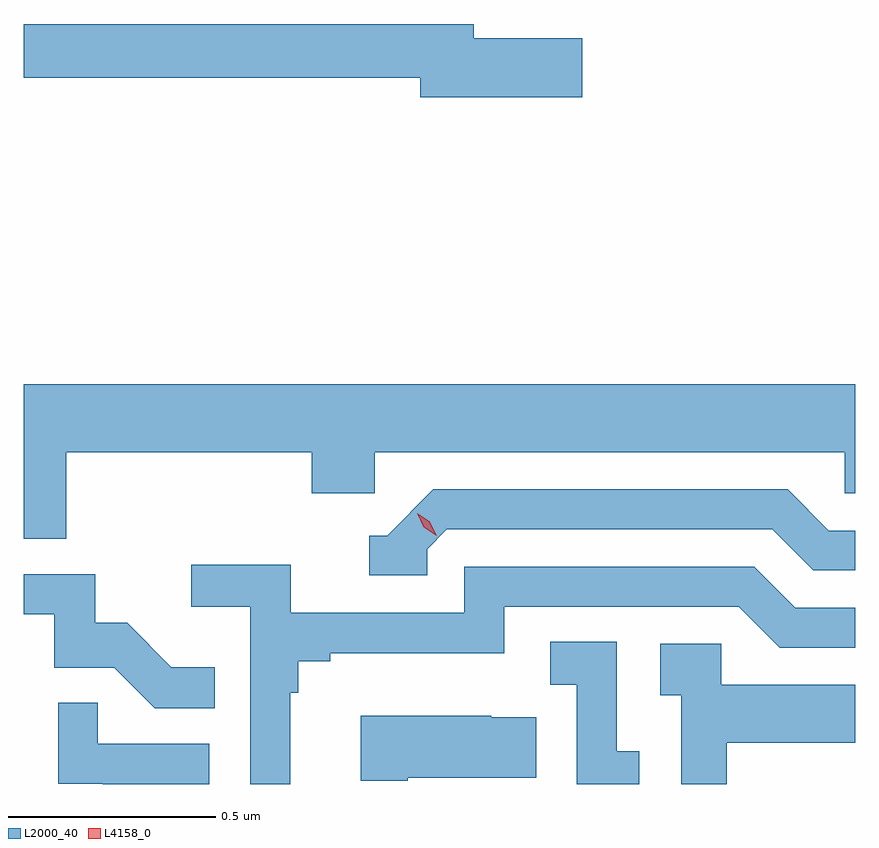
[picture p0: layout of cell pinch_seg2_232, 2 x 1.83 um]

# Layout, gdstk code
import gdstk
lib = gdstk.Library(unit=1e-6, precision=1e-09)
def P(c, l, *ps):  # polygons
    for p in ps: c.add(gdstk.Polygon(p, *l))
L2000_40 = (2000, 40)
L4158_0 = (4158, 0)

pinch_seg2_232 = lib.new_cell('pinch_seg2_232')
P(pinch_seg2_232, L2000_40, [(1002.451,648.633),(1002.19,648.633),(1002.19,648.667),(1001.108,648.667),(1001.108,648.538),(1002.062,648.538),(1002.062,648.491),(1002.451,648.491)],
  [(1001.21,647.636),(1001.801,647.636),(1001.801,647.538),(1001.952,647.538),(1001.952,647.636),(1003.083,647.636),(1003.083,647.538),(1003.108,647.538),(1003.108,647.8),(1001.108,647.8),(1001.108,647.428),(1001.21,647.428)],
  [(1002.078,647.403),(1002.126,647.451),(1002.909,647.451),(1003.008,647.352),(1003.108,647.352),(1003.108,647.448),(1003.045,647.448),(1002.946,647.547),(1002.093,647.547),(1001.982,647.436),(1001.939,647.436),(1001.939,647.34),(1002.078,647.34)],
  [(1001.749,647.057),(1001.768,647.057),(1001.768,647.134),(1001.845,647.134),(1001.845,647.153),(1002.264,647.153),(1002.264,647.265),(1002.828,647.265),(1002.927,647.166),(1003.108,647.166),(1003.108,647.262),(1002.964,647.262),(1002.865,647.361),(1002.168,647.361),(1002.168,647.25),(1001.75,647.25),(1001.75,647.366),(1001.511,647.366),(1001.511,647.264),(1001.652,647.264),(1001.652,646.838),(1001.749,646.838)],
  [(1001.567,647.119),(1001.463,647.119),(1001.356,647.226),(1001.28,647.226),(1001.28,647.343),(1001.108,647.343),(1001.108,647.247),(1001.181,647.247),(1001.181,647.118),(1001.325,647.118),(1001.423,647.02),(1001.567,647.02)],
  [(1002.589,646.917),(1002.534,646.917),(1002.534,647.18),(1002.375,647.18),(1002.375,647.077),(1002.438,647.077),(1002.438,646.838),(1002.589,646.838)],
  [(1002.799,646.937),(1003.108,646.937),(1003.108,647.077),(1002.786,647.077),(1002.786,647.175),(1002.639,647.175),(1002.639,647.051),(1002.69,647.051),(1002.69,646.838),(1002.799,646.838)],
  [(1001.554,646.935),(1001.285,646.935),(1001.285,647.033),(1001.19,647.033),(1001.19,646.839),(1001.297,646.839),(1001.297,646.838),(1001.554,646.838)],
  [(1002.031,646.853),(1002.341,646.853),(1002.341,646.999),(1002.233,646.999),(1002.233,647.002),(1001.919,647.002),(1001.919,646.846),(1002.031,646.846)])
P(pinch_seg2_232, L4158_0, [(1002.101,647.436),(1002.07,647.456),(1002.054,647.489),(1002.054,647.489),(1002.055,647.489),(1002.085,647.469),(1002.101,647.436),(1002.101,647.436)])

lib.write_gds('pinch_seg2_232.gds')
